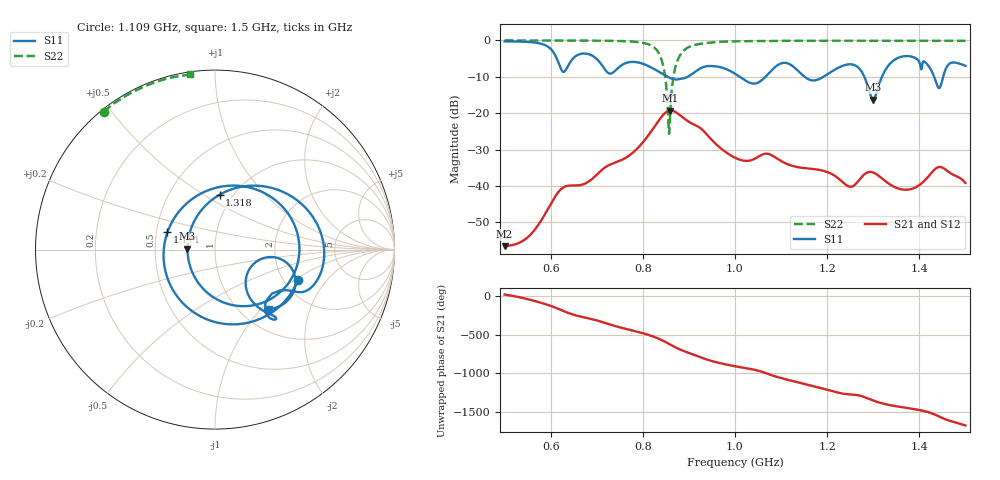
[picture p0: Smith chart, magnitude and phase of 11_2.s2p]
! TOUCHSTONE file generated by CST MICROWAVE STUDIO
! Date and time: Thu Feb 11 19:32:13 2021
! Project name: Scenario_1_Planar_Body_Tissue_Out_of_Line.cst
! Parameters = {L_HA=400; Ltissue=1000; MT=2.54; Rad_Dielectric=30; Rad_Lower=7.3; Rad_Upper=30; Wtissue=1000; a_HA=580; a_WG=246; b_HA=500; b_WG=121; c_HA=0; c_WG=187; d_feed=85; dx1=346; dy1=-173; h_feed=15; h_lower=18; h_upper=40; hfat=3; hgap=25; hmuscle=50; hskin=1.5}
! Header version: 2018
! Port assignment regex: !\s*Touchstone port\s*([0-9]+)\s*=\s*(CST MWS port|CST DS port)\s*([0-9]+|Zmin|Zmax)\s*\(\"(.*)\"\)(\s*mode\s*([0-9]+))?.*
! Touchstone port assignment:
! Touchstone port 1 = CST MWS port 1 ("")
! Touchstone port 2 = CST MWS port 2 ("")
# GHz S DB R 50
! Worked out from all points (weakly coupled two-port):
!   1003 points, 500 MHz to 1.5 GHz, reference 50 ohm
!   highest |S21| = -19.26 dB at 860 MHz (marker M1); lowest = -56.5 dB at 500 MHz (marker M2)
!   lowest |S11| = -16.3 dB at 1.3 GHz (marker M3), VSWR 1.36, Z = 36.7 + j0.347 ohm
!   |S11| at or under -10 dB: 853.8 MHz to 897.1 MHz (43.23 MHz wide, 4.94 % of centre); 1.01 GHz to 1.066 GHz (55.69 MHz wide, 5.36 % of centre); 1.151 GHz to 1.192 GHz (40.67 MHz wide, 3.47 % of centre) (the widest 3 of 5)
!   |S22| runs from -25.7 to 0.0 dB; largest |S21 - S12| = 2.8e-06
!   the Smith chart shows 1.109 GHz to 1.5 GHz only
!   S11 on the Smith chart (normalised r, x): 1.109 GHz: 2.39, -1.06; 1.171 GHz: 0.57, +0.12; 1.318 GHz: 0.87, +0.59; 1.5 GHz: 1.34, -1.11
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0.5  -0.27 -121.6  -56.54 22.3  -56.54 22.3  -0.01 151.1
0.667  -3.66 157.1  -39.68 93.9  -39.68 93.9  -0.04 138.4
0.696  -4.67 99.9  -37.37 54.1  -37.37 54.1  -0.06 135.3
0.718  -8.02 21.2  -34.90 14.2  -34.90 14.2  -0.09 132.5
0.741  -8.21 -95.8  -33.53 -27.8  -33.53 -27.8  -0.14 129.0
0.769  -6.01 177.5  -31.75 -70.3  -31.75 -70.3  -0.27 123.3
0.834  -8.57 32.8  -22.11 171.6  -22.11 171.6  -3.36 82.4
0.86  -10.36 -34.8  -19.26 92.1  -19.26 92.1  -18.42 -119.9
0.88  -10.58 -93.5  -20.49 32.4  -20.49 32.4  -4.23 -173.4
0.939  -7.09 85.3  -25.87 -99.7  -25.87 -99.7  -0.69 151.7
1  -9.15 -63.9  -32.23 173.5  -32.23 173.5  -0.25 140.2
1.042  -11.86 -177.6  -32.57 128.7  -32.57 128.7  -0.18 135.1
1.076  -8.68 77.1  -31.34 64.6  -31.34 64.6  -0.15 131.9
1.109  -6.16 -20.0  -33.74 6.7  -33.74 6.7  -0.11 128.9
1.167  -10.97 171.2  -35.30 -78.7  -35.30 -78.7  -0.09 124.2
1.171  -10.99 160.0  -35.35 -84.9  -35.35 -84.9  -0.09 123.9
1.249  -6.55 2.9  -40.20 168.9  -40.20 168.9  -0.09 117.9
1.3  -16.28 178.3  -36.30 89.9  -36.30 89.9  -0.08 114.1
1.318  -10.27 85.3  -37.83 55.0  -37.83 55.0  -0.08 112.7
1.334  -6.74 48.9  -39.38 32.6  -39.38 32.6  -0.08 111.5
1.411  -5.81 -48.2  -38.57 -47.5  -38.57 -47.5  -0.09 105.5
1.5  -6.96 -47.5  -39.16 126.9  -39.16 126.9  -0.13 98.0
